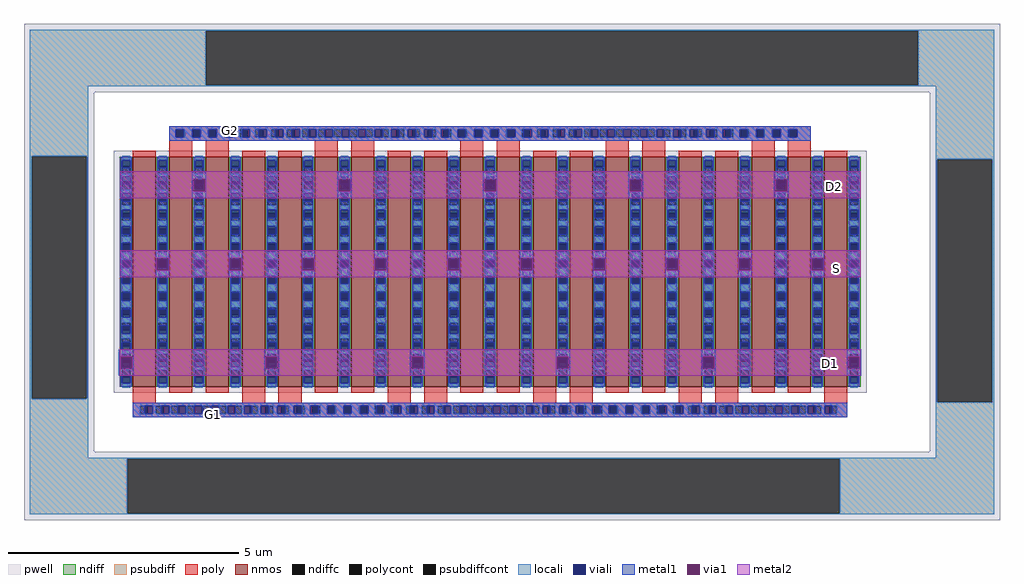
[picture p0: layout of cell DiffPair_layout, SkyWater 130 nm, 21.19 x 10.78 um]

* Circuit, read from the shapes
.subckt DiffPair_layout G1 G2 D2 S D1
XM1 S G1 D1 VSUBS sky130_fd_pr__nfet_01v8 w=5 l=0.5 m=10
XM2 D2 G2 S VSUBS sky130_fd_pr__nfet_01v8 w=5 l=0.5 m=10
.ends

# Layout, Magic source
magic
tech sky130A
magscale 1 2
<< pwell >>
rect -415 1306 3823 1603
rect -415 -256 -109 1306
rect 3517 -256 3823 1306
rect -415 -553 3823 -256
<< psubdiff >>
rect -389 1573 3797 1577
rect -389 1335 375 1573
rect 3469 1335 3797 1573
rect -389 1332 3797 1335
rect -389 1028 -135 1332
rect -389 -26 -381 1028
rect -143 -26 -135 1028
rect 3543 1014 3797 1332
rect -389 -282 -135 -26
rect 3543 -40 3551 1014
rect 3789 -40 3797 1014
rect 3543 -282 3797 -40
rect -389 -286 3797 -282
rect -389 -524 33 -286
rect 3127 -524 3797 -286
rect -389 -527 3797 -524
<< psubdiffcont >>
rect 375 1335 3469 1573
rect -381 -26 -143 1028
rect 3551 -40 3789 1014
rect 33 -524 3127 -286
<< poly >>
rect 216 1144 3002 1158
rect 216 1110 250 1144
rect 284 1110 318 1144
rect 352 1110 386 1144
rect 420 1110 454 1144
rect 488 1110 522 1144
rect 556 1110 590 1144
rect 624 1110 658 1144
rect 692 1110 726 1144
rect 760 1110 794 1144
rect 828 1110 862 1144
rect 896 1110 930 1144
rect 964 1110 998 1144
rect 1032 1110 1066 1144
rect 1100 1110 1134 1144
rect 1168 1110 1202 1144
rect 1236 1110 1270 1144
rect 1304 1110 1338 1144
rect 1372 1110 1406 1144
rect 1440 1110 1474 1144
rect 1508 1110 1542 1144
rect 1576 1110 1610 1144
rect 1644 1110 1678 1144
rect 1712 1110 1746 1144
rect 1780 1110 1814 1144
rect 1848 1110 1882 1144
rect 1916 1110 1950 1144
rect 1984 1110 2018 1144
rect 2052 1110 2086 1144
rect 2120 1110 2154 1144
rect 2188 1110 2222 1144
rect 2256 1110 2290 1144
rect 2324 1110 2358 1144
rect 2392 1110 2426 1144
rect 2460 1110 2494 1144
rect 2528 1110 2562 1144
rect 2596 1110 2630 1144
rect 2664 1110 2698 1144
rect 2732 1110 2766 1144
rect 2800 1110 2834 1144
rect 2868 1110 2902 1144
rect 2936 1110 3002 1144
rect 216 1094 3002 1110
rect 216 1052 316 1094
rect 374 1052 474 1094
rect 848 1052 948 1094
rect 1006 1052 1106 1094
rect 1480 1052 1580 1094
rect 1638 1052 1738 1094
rect 2112 1052 2212 1094
rect 2270 1052 2370 1094
rect 2744 1052 2844 1094
rect 2902 1052 3002 1094
rect 58 -42 158 0
rect 532 -42 632 0
rect 690 -42 790 0
rect 1164 -42 1264 0
rect 1322 -42 1422 0
rect 1796 -42 1896 0
rect 1954 -42 2054 0
rect 2428 -42 2528 0
rect 2586 -42 2686 0
rect 3060 -42 3160 0
rect 58 -56 3160 -42
rect 58 -90 89 -56
rect 123 -90 157 -56
rect 191 -90 225 -56
rect 259 -90 293 -56
rect 327 -90 361 -56
rect 395 -90 429 -56
rect 463 -90 497 -56
rect 531 -90 565 -56
rect 599 -90 633 -56
rect 667 -90 701 -56
rect 735 -90 769 -56
rect 803 -90 837 -56
rect 871 -90 905 -56
rect 939 -90 973 -56
rect 1007 -90 1041 -56
rect 1075 -90 1109 -56
rect 1143 -90 1177 -56
rect 1211 -90 1245 -56
rect 1279 -90 1313 -56
rect 1347 -90 1381 -56
rect 1415 -90 1449 -56
rect 1483 -90 1517 -56
rect 1551 -90 1585 -56
rect 1619 -90 1653 -56
rect 1687 -90 1721 -56
rect 1755 -90 1789 -56
rect 1823 -90 1857 -56
rect 1891 -90 1925 -56
rect 1959 -90 1993 -56
rect 2027 -90 2061 -56
rect 2095 -90 2129 -56
rect 2163 -90 2197 -56
rect 2231 -90 2265 -56
rect 2299 -90 2333 -56
rect 2367 -90 2401 -56
rect 2435 -90 2469 -56
rect 2503 -90 2537 -56
rect 2571 -90 2605 -56
rect 2639 -90 2673 -56
rect 2707 -90 2741 -56
rect 2775 -90 2809 -56
rect 2843 -90 2877 -56
rect 2911 -90 2945 -56
rect 2979 -90 3013 -56
rect 3047 -90 3081 -56
rect 3115 -90 3160 -56
rect 58 -106 3160 -90
<< polycont >>
rect 250 1110 284 1144
rect 318 1110 352 1144
rect 386 1110 420 1144
rect 454 1110 488 1144
rect 522 1110 556 1144
rect 590 1110 624 1144
rect 658 1110 692 1144
rect 726 1110 760 1144
rect 794 1110 828 1144
rect 862 1110 896 1144
rect 930 1110 964 1144
rect 998 1110 1032 1144
rect 1066 1110 1100 1144
rect 1134 1110 1168 1144
rect 1202 1110 1236 1144
rect 1270 1110 1304 1144
rect 1338 1110 1372 1144
rect 1406 1110 1440 1144
rect 1474 1110 1508 1144
rect 1542 1110 1576 1144
rect 1610 1110 1644 1144
rect 1678 1110 1712 1144
rect 1746 1110 1780 1144
rect 1814 1110 1848 1144
rect 1882 1110 1916 1144
rect 1950 1110 1984 1144
rect 2018 1110 2052 1144
rect 2086 1110 2120 1144
rect 2154 1110 2188 1144
rect 2222 1110 2256 1144
rect 2290 1110 2324 1144
rect 2358 1110 2392 1144
rect 2426 1110 2460 1144
rect 2494 1110 2528 1144
rect 2562 1110 2596 1144
rect 2630 1110 2664 1144
rect 2698 1110 2732 1144
rect 2766 1110 2800 1144
rect 2834 1110 2868 1144
rect 2902 1110 2936 1144
rect 89 -90 123 -56
rect 157 -90 191 -56
rect 225 -90 259 -56
rect 293 -90 327 -56
rect 361 -90 395 -56
rect 429 -90 463 -56
rect 497 -90 531 -56
rect 565 -90 599 -56
rect 633 -90 667 -56
rect 701 -90 735 -56
rect 769 -90 803 -56
rect 837 -90 871 -56
rect 905 -90 939 -56
rect 973 -90 1007 -56
rect 1041 -90 1075 -56
rect 1109 -90 1143 -56
rect 1177 -90 1211 -56
rect 1245 -90 1279 -56
rect 1313 -90 1347 -56
rect 1381 -90 1415 -56
rect 1449 -90 1483 -56
rect 1517 -90 1551 -56
rect 1585 -90 1619 -56
rect 1653 -90 1687 -56
rect 1721 -90 1755 -56
rect 1789 -90 1823 -56
rect 1857 -90 1891 -56
rect 1925 -90 1959 -56
rect 1993 -90 2027 -56
rect 2061 -90 2095 -56
rect 2129 -90 2163 -56
rect 2197 -90 2231 -56
rect 2265 -90 2299 -56
rect 2333 -90 2367 -56
rect 2401 -90 2435 -56
rect 2469 -90 2503 -56
rect 2537 -90 2571 -56
rect 2605 -90 2639 -56
rect 2673 -90 2707 -56
rect 2741 -90 2775 -56
rect 2809 -90 2843 -56
rect 2877 -90 2911 -56
rect 2945 -90 2979 -56
rect 3013 -90 3047 -56
rect 3081 -90 3115 -56
<< locali >>
rect -389 1573 3797 1577
rect -389 1335 375 1573
rect 3469 1335 3797 1573
rect -389 1332 3797 1335
rect -389 1028 -135 1332
rect 216 1144 3002 1158
rect 216 1110 244 1144
rect 284 1110 316 1144
rect 352 1110 386 1144
rect 422 1110 454 1144
rect 494 1110 522 1144
rect 566 1110 590 1144
rect 638 1110 658 1144
rect 710 1110 726 1144
rect 782 1110 794 1144
rect 854 1110 862 1144
rect 926 1110 930 1144
rect 1032 1110 1036 1144
rect 1100 1110 1108 1144
rect 1168 1110 1180 1144
rect 1236 1110 1252 1144
rect 1304 1110 1324 1144
rect 1372 1110 1396 1144
rect 1440 1110 1468 1144
rect 1508 1110 1540 1144
rect 1576 1110 1610 1144
rect 1646 1110 1678 1144
rect 1718 1110 1746 1144
rect 1790 1110 1814 1144
rect 1862 1110 1882 1144
rect 1934 1110 1950 1144
rect 2006 1110 2018 1144
rect 2078 1110 2086 1144
rect 2150 1110 2154 1144
rect 2256 1110 2260 1144
rect 2324 1110 2332 1144
rect 2392 1110 2404 1144
rect 2460 1110 2476 1144
rect 2528 1110 2548 1144
rect 2596 1110 2620 1144
rect 2664 1110 2692 1144
rect 2732 1110 2764 1144
rect 2800 1110 2834 1144
rect 2870 1110 2902 1144
rect 2942 1110 3002 1144
rect 216 1094 3002 1110
rect -389 -26 -381 1028
rect -143 -26 -135 1028
rect -389 -282 -135 -26
rect 3543 1014 3797 1332
rect 3543 -40 3551 1014
rect 3789 -40 3797 1014
rect 58 -56 3160 -42
rect 58 -90 89 -56
rect 143 -90 157 -56
rect 215 -90 225 -56
rect 287 -90 293 -56
rect 359 -90 361 -56
rect 395 -90 397 -56
rect 463 -90 469 -56
rect 531 -90 541 -56
rect 599 -90 613 -56
rect 667 -90 685 -56
rect 735 -90 757 -56
rect 803 -90 829 -56
rect 871 -90 901 -56
rect 939 -90 973 -56
rect 1007 -90 1041 -56
rect 1079 -90 1109 -56
rect 1151 -90 1177 -56
rect 1223 -90 1245 -56
rect 1295 -90 1313 -56
rect 1367 -90 1381 -56
rect 1439 -90 1449 -56
rect 1511 -90 1517 -56
rect 1583 -90 1585 -56
rect 1619 -90 1621 -56
rect 1687 -90 1693 -56
rect 1755 -90 1765 -56
rect 1823 -90 1837 -56
rect 1891 -90 1909 -56
rect 1959 -90 1981 -56
rect 2027 -90 2053 -56
rect 2095 -90 2125 -56
rect 2163 -90 2197 -56
rect 2231 -90 2265 -56
rect 2303 -90 2333 -56
rect 2375 -90 2401 -56
rect 2447 -90 2469 -56
rect 2519 -90 2537 -56
rect 2591 -90 2605 -56
rect 2663 -90 2673 -56
rect 2735 -90 2741 -56
rect 2807 -90 2809 -56
rect 2843 -90 2845 -56
rect 2911 -90 2917 -56
rect 2979 -90 2989 -56
rect 3047 -90 3061 -56
rect 3115 -90 3160 -56
rect 58 -106 3160 -90
rect 3543 -282 3797 -40
rect -389 -286 3797 -282
rect -389 -524 33 -286
rect 3127 -524 3797 -286
rect -389 -527 3797 -524
<< viali >>
rect 244 1110 250 1144
rect 250 1110 278 1144
rect 316 1110 318 1144
rect 318 1110 350 1144
rect 388 1110 420 1144
rect 420 1110 422 1144
rect 460 1110 488 1144
rect 488 1110 494 1144
rect 532 1110 556 1144
rect 556 1110 566 1144
rect 604 1110 624 1144
rect 624 1110 638 1144
rect 676 1110 692 1144
rect 692 1110 710 1144
rect 748 1110 760 1144
rect 760 1110 782 1144
rect 820 1110 828 1144
rect 828 1110 854 1144
rect 892 1110 896 1144
rect 896 1110 926 1144
rect 964 1110 998 1144
rect 1036 1110 1066 1144
rect 1066 1110 1070 1144
rect 1108 1110 1134 1144
rect 1134 1110 1142 1144
rect 1180 1110 1202 1144
rect 1202 1110 1214 1144
rect 1252 1110 1270 1144
rect 1270 1110 1286 1144
rect 1324 1110 1338 1144
rect 1338 1110 1358 1144
rect 1396 1110 1406 1144
rect 1406 1110 1430 1144
rect 1468 1110 1474 1144
rect 1474 1110 1502 1144
rect 1540 1110 1542 1144
rect 1542 1110 1574 1144
rect 1612 1110 1644 1144
rect 1644 1110 1646 1144
rect 1684 1110 1712 1144
rect 1712 1110 1718 1144
rect 1756 1110 1780 1144
rect 1780 1110 1790 1144
rect 1828 1110 1848 1144
rect 1848 1110 1862 1144
rect 1900 1110 1916 1144
rect 1916 1110 1934 1144
rect 1972 1110 1984 1144
rect 1984 1110 2006 1144
rect 2044 1110 2052 1144
rect 2052 1110 2078 1144
rect 2116 1110 2120 1144
rect 2120 1110 2150 1144
rect 2188 1110 2222 1144
rect 2260 1110 2290 1144
rect 2290 1110 2294 1144
rect 2332 1110 2358 1144
rect 2358 1110 2366 1144
rect 2404 1110 2426 1144
rect 2426 1110 2438 1144
rect 2476 1110 2494 1144
rect 2494 1110 2510 1144
rect 2548 1110 2562 1144
rect 2562 1110 2582 1144
rect 2620 1110 2630 1144
rect 2630 1110 2654 1144
rect 2692 1110 2698 1144
rect 2698 1110 2726 1144
rect 2764 1110 2766 1144
rect 2766 1110 2798 1144
rect 2836 1110 2868 1144
rect 2868 1110 2870 1144
rect 2908 1110 2936 1144
rect 2936 1110 2942 1144
rect 109 -90 123 -56
rect 123 -90 143 -56
rect 181 -90 191 -56
rect 191 -90 215 -56
rect 253 -90 259 -56
rect 259 -90 287 -56
rect 325 -90 327 -56
rect 327 -90 359 -56
rect 397 -90 429 -56
rect 429 -90 431 -56
rect 469 -90 497 -56
rect 497 -90 503 -56
rect 541 -90 565 -56
rect 565 -90 575 -56
rect 613 -90 633 -56
rect 633 -90 647 -56
rect 685 -90 701 -56
rect 701 -90 719 -56
rect 757 -90 769 -56
rect 769 -90 791 -56
rect 829 -90 837 -56
rect 837 -90 863 -56
rect 901 -90 905 -56
rect 905 -90 935 -56
rect 973 -90 1007 -56
rect 1045 -90 1075 -56
rect 1075 -90 1079 -56
rect 1117 -90 1143 -56
rect 1143 -90 1151 -56
rect 1189 -90 1211 -56
rect 1211 -90 1223 -56
rect 1261 -90 1279 -56
rect 1279 -90 1295 -56
rect 1333 -90 1347 -56
rect 1347 -90 1367 -56
rect 1405 -90 1415 -56
rect 1415 -90 1439 -56
rect 1477 -90 1483 -56
rect 1483 -90 1511 -56
rect 1549 -90 1551 -56
rect 1551 -90 1583 -56
rect 1621 -90 1653 -56
rect 1653 -90 1655 -56
rect 1693 -90 1721 -56
rect 1721 -90 1727 -56
rect 1765 -90 1789 -56
rect 1789 -90 1799 -56
rect 1837 -90 1857 -56
rect 1857 -90 1871 -56
rect 1909 -90 1925 -56
rect 1925 -90 1943 -56
rect 1981 -90 1993 -56
rect 1993 -90 2015 -56
rect 2053 -90 2061 -56
rect 2061 -90 2087 -56
rect 2125 -90 2129 -56
rect 2129 -90 2159 -56
rect 2197 -90 2231 -56
rect 2269 -90 2299 -56
rect 2299 -90 2303 -56
rect 2341 -90 2367 -56
rect 2367 -90 2375 -56
rect 2413 -90 2435 -56
rect 2435 -90 2447 -56
rect 2485 -90 2503 -56
rect 2503 -90 2519 -56
rect 2557 -90 2571 -56
rect 2571 -90 2591 -56
rect 2629 -90 2639 -56
rect 2639 -90 2663 -56
rect 2701 -90 2707 -56
rect 2707 -90 2735 -56
rect 2773 -90 2775 -56
rect 2775 -90 2807 -56
rect 2845 -90 2877 -56
rect 2877 -90 2879 -56
rect 2917 -90 2945 -56
rect 2945 -90 2951 -56
rect 2989 -90 3013 -56
rect 3013 -90 3023 -56
rect 3061 -90 3081 -56
rect 3081 -90 3095 -56
<< metal1 >>
rect 216 1144 3002 1158
rect 216 1110 244 1144
rect 278 1110 316 1144
rect 350 1110 388 1144
rect 422 1110 460 1144
rect 494 1110 532 1144
rect 566 1110 604 1144
rect 638 1110 676 1144
rect 710 1110 748 1144
rect 782 1110 820 1144
rect 854 1110 892 1144
rect 926 1110 964 1144
rect 998 1110 1036 1144
rect 1070 1110 1108 1144
rect 1142 1110 1180 1144
rect 1214 1110 1252 1144
rect 1286 1110 1324 1144
rect 1358 1110 1396 1144
rect 1430 1110 1468 1144
rect 1502 1110 1540 1144
rect 1574 1110 1612 1144
rect 1646 1110 1684 1144
rect 1718 1110 1756 1144
rect 1790 1110 1828 1144
rect 1862 1110 1900 1144
rect 1934 1110 1972 1144
rect 2006 1110 2044 1144
rect 2078 1110 2116 1144
rect 2150 1110 2188 1144
rect 2222 1110 2260 1144
rect 2294 1110 2332 1144
rect 2366 1110 2404 1144
rect 2438 1110 2476 1144
rect 2510 1110 2548 1144
rect 2582 1110 2620 1144
rect 2654 1110 2692 1144
rect 2726 1110 2764 1144
rect 2798 1110 2836 1144
rect 2870 1110 2908 1144
rect 2942 1110 3002 1144
rect 216 1094 3002 1110
rect 313 928 377 959
rect 313 876 319 928
rect 371 876 377 928
rect 313 846 377 876
rect 945 928 1009 959
rect 945 876 951 928
rect 1003 876 1009 928
rect 945 846 1009 876
rect 1577 928 1641 959
rect 1577 876 1583 928
rect 1635 876 1641 928
rect 1577 846 1641 876
rect 2209 928 2273 959
rect 2209 876 2215 928
rect 2267 876 2273 928
rect 2209 846 2273 876
rect 2841 928 2905 959
rect 2841 876 2847 928
rect 2899 876 2905 928
rect 2841 846 2905 876
rect 158 585 216 619
rect 158 533 161 585
rect 213 533 216 585
rect 158 503 216 533
rect 474 585 532 619
rect 474 533 477 585
rect 529 533 532 585
rect 474 503 532 533
rect 790 585 848 619
rect 790 533 793 585
rect 845 533 848 585
rect 790 503 848 533
rect 1106 585 1164 619
rect 1106 533 1109 585
rect 1161 533 1164 585
rect 1106 503 1164 533
rect 1422 585 1480 619
rect 1422 533 1425 585
rect 1477 533 1480 585
rect 1422 503 1480 533
rect 1738 585 1796 619
rect 1738 533 1741 585
rect 1793 533 1796 585
rect 1738 503 1796 533
rect 2054 585 2112 619
rect 2054 533 2057 585
rect 2109 533 2112 585
rect 2054 503 2112 533
rect 2370 585 2428 619
rect 2370 533 2373 585
rect 2425 533 2428 585
rect 2370 503 2428 533
rect 2686 585 2744 619
rect 2686 533 2689 585
rect 2741 533 2744 585
rect 2686 503 2744 533
rect 3002 585 3060 619
rect 3002 533 3005 585
rect 3057 533 3060 585
rect 3002 503 3060 533
rect -3 156 61 188
rect -3 104 3 156
rect 55 104 61 156
rect -3 74 61 104
rect 629 156 693 188
rect 629 104 635 156
rect 687 104 693 156
rect 629 74 693 104
rect 1261 156 1325 188
rect 1261 104 1267 156
rect 1319 104 1325 156
rect 1261 74 1325 104
rect 1893 156 1957 188
rect 1893 104 1899 156
rect 1951 104 1957 156
rect 1893 74 1957 104
rect 2525 156 2589 188
rect 2525 104 2531 156
rect 2583 104 2589 156
rect 2525 74 2589 104
rect 3157 156 3221 188
rect 3157 104 3163 156
rect 3215 104 3221 156
rect 3157 74 3221 104
rect 58 -56 3160 -42
rect 58 -90 109 -56
rect 143 -90 181 -56
rect 215 -90 253 -56
rect 287 -90 325 -56
rect 359 -90 397 -56
rect 431 -90 469 -56
rect 503 -90 541 -56
rect 575 -90 613 -56
rect 647 -90 685 -56
rect 719 -90 757 -56
rect 791 -90 829 -56
rect 863 -90 901 -56
rect 935 -90 973 -56
rect 1007 -90 1045 -56
rect 1079 -90 1117 -56
rect 1151 -90 1189 -56
rect 1223 -90 1261 -56
rect 1295 -90 1333 -56
rect 1367 -90 1405 -56
rect 1439 -90 1477 -56
rect 1511 -90 1549 -56
rect 1583 -90 1621 -56
rect 1655 -90 1693 -56
rect 1727 -90 1765 -56
rect 1799 -90 1837 -56
rect 1871 -90 1909 -56
rect 1943 -90 1981 -56
rect 2015 -90 2053 -56
rect 2087 -90 2125 -56
rect 2159 -90 2197 -56
rect 2231 -90 2269 -56
rect 2303 -90 2341 -56
rect 2375 -90 2413 -56
rect 2447 -90 2485 -56
rect 2519 -90 2557 -56
rect 2591 -90 2629 -56
rect 2663 -90 2701 -56
rect 2735 -90 2773 -56
rect 2807 -90 2845 -56
rect 2879 -90 2917 -56
rect 2951 -90 2989 -56
rect 3023 -90 3061 -56
rect 3095 -90 3160 -56
rect 58 -106 3160 -90
<< via1 >>
rect 319 876 371 928
rect 951 876 1003 928
rect 1583 876 1635 928
rect 2215 876 2267 928
rect 2847 876 2899 928
rect 161 533 213 585
rect 477 533 529 585
rect 793 533 845 585
rect 1109 533 1161 585
rect 1425 533 1477 585
rect 1741 533 1793 585
rect 2057 533 2109 585
rect 2373 533 2425 585
rect 2689 533 2741 585
rect 3005 533 3057 585
rect 3 104 55 156
rect 635 104 687 156
rect 1267 104 1319 156
rect 1899 104 1951 156
rect 2531 104 2583 156
rect 3163 104 3215 156
<< metal2 >>
rect 0 928 3218 962
rect 0 876 319 928
rect 371 876 951 928
rect 1003 876 1583 928
rect 1635 876 2215 928
rect 2267 876 2847 928
rect 2899 876 3218 928
rect 0 846 3218 876
rect 0 585 3218 619
rect 0 533 161 585
rect 213 533 477 585
rect 529 533 793 585
rect 845 533 1109 585
rect 1161 533 1425 585
rect 1477 533 1741 585
rect 1793 533 2057 585
rect 2109 533 2373 585
rect 2425 533 2689 585
rect 2741 533 3005 585
rect 3057 533 3218 585
rect 0 503 3218 533
rect 0 156 3218 190
rect 0 104 3 156
rect 55 104 635 156
rect 687 104 1267 156
rect 1319 104 1899 156
rect 1951 104 2531 156
rect 2583 104 3163 156
rect 3215 104 3218 156
rect 0 74 3218 104
use sky130_fd_pr__nfet_01v8_6YBK2C  sky130_fd_pr__nfet_01v8_6YBK2C_19
transform 1 0 108 0 1 526
box -134 -526 134 526
use sky130_fd_pr__nfet_01v8_6YBK2C  sky130_fd_pr__nfet_01v8_6YBK2C_18
transform 1 0 266 0 1 526
box -134 -526 134 526
use sky130_fd_pr__nfet_01v8_6YBK2C  sky130_fd_pr__nfet_01v8_6YBK2C_17
transform 1 0 424 0 1 526
box -134 -526 134 526
use sky130_fd_pr__nfet_01v8_6YBK2C  sky130_fd_pr__nfet_01v8_6YBK2C_16
transform 1 0 582 0 1 526
box -134 -526 134 526
use sky130_fd_pr__nfet_01v8_6YBK2C  sky130_fd_pr__nfet_01v8_6YBK2C_15
transform 1 0 740 0 1 526
box -134 -526 134 526
use sky130_fd_pr__nfet_01v8_6YBK2C  sky130_fd_pr__nfet_01v8_6YBK2C_14
transform 1 0 898 0 1 526
box -134 -526 134 526
use sky130_fd_pr__nfet_01v8_6YBK2C  sky130_fd_pr__nfet_01v8_6YBK2C_13
transform 1 0 1056 0 1 526
box -134 -526 134 526
use sky130_fd_pr__nfet_01v8_6YBK2C  sky130_fd_pr__nfet_01v8_6YBK2C_12
transform 1 0 1214 0 1 526
box -134 -526 134 526
use sky130_fd_pr__nfet_01v8_6YBK2C  sky130_fd_pr__nfet_01v8_6YBK2C_11
transform 1 0 1372 0 1 526
box -134 -526 134 526
use sky130_fd_pr__nfet_01v8_6YBK2C  sky130_fd_pr__nfet_01v8_6YBK2C_10
transform 1 0 1530 0 1 526
box -134 -526 134 526
use sky130_fd_pr__nfet_01v8_6YBK2C  sky130_fd_pr__nfet_01v8_6YBK2C_9
transform 1 0 1688 0 1 526
box -134 -526 134 526
use sky130_fd_pr__nfet_01v8_6YBK2C  sky130_fd_pr__nfet_01v8_6YBK2C_7
transform 1 0 1846 0 1 526
box -134 -526 134 526
use sky130_fd_pr__nfet_01v8_6YBK2C  sky130_fd_pr__nfet_01v8_6YBK2C_8
transform 1 0 2004 0 1 526
box -134 -526 134 526
use sky130_fd_pr__nfet_01v8_6YBK2C  sky130_fd_pr__nfet_01v8_6YBK2C_6
transform 1 0 2162 0 1 526
box -134 -526 134 526
use sky130_fd_pr__nfet_01v8_6YBK2C  sky130_fd_pr__nfet_01v8_6YBK2C_5
transform 1 0 2320 0 1 526
box -134 -526 134 526
use sky130_fd_pr__nfet_01v8_6YBK2C  sky130_fd_pr__nfet_01v8_6YBK2C_4
transform 1 0 2478 0 1 526
box -134 -526 134 526
use sky130_fd_pr__nfet_01v8_6YBK2C  sky130_fd_pr__nfet_01v8_6YBK2C_3
transform 1 0 2636 0 1 526
box -134 -526 134 526
use sky130_fd_pr__nfet_01v8_6YBK2C  sky130_fd_pr__nfet_01v8_6YBK2C_2
transform 1 0 2794 0 1 526
box -134 -526 134 526
use sky130_fd_pr__nfet_01v8_6YBK2C  sky130_fd_pr__nfet_01v8_6YBK2C_1
transform 1 0 2952 0 1 526
box -134 -526 134 526
use sky130_fd_pr__nfet_01v8_6YBK2C  sky130_fd_pr__nfet_01v8_6YBK2C_0
transform 1 0 3110 0 1 526
box -134 -526 134 526
<< labels >>
flabel metal1 s 408 -95 408 -95 0 FreeSans 800 0 0 0 G1
port 1 nsew
flabel metal1 s 482 1139 482 1139 0 FreeSans 800 0 0 0 G2
port 2 nsew
flabel metal2 s 3106 898 3106 898 0 FreeSans 800 0 0 0 D2
port 3 nsew
flabel metal2 s 3111 542 3111 542 0 FreeSans 800 0 0 0 S
port 4 nsew
flabel metal2 s 3085 128 3085 128 0 FreeSans 800 0 0 0 D1
port 5 nsew
<< end >>

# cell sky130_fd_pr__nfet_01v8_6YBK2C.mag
magic
tech sky130A
magscale 1 2
<< pwell >>
rect -134 -526 134 526
<< nmos >>
rect -50 -500 50 500
<< ndiff >>
rect -108 459 -50 500
rect -108 425 -96 459
rect -62 425 -50 459
rect -108 391 -50 425
rect -108 357 -96 391
rect -62 357 -50 391
rect -108 323 -50 357
rect -108 289 -96 323
rect -62 289 -50 323
rect -108 255 -50 289
rect -108 221 -96 255
rect -62 221 -50 255
rect -108 187 -50 221
rect -108 153 -96 187
rect -62 153 -50 187
rect -108 119 -50 153
rect -108 85 -96 119
rect -62 85 -50 119
rect -108 51 -50 85
rect -108 17 -96 51
rect -62 17 -50 51
rect -108 -17 -50 17
rect -108 -51 -96 -17
rect -62 -51 -50 -17
rect -108 -85 -50 -51
rect -108 -119 -96 -85
rect -62 -119 -50 -85
rect -108 -153 -50 -119
rect -108 -187 -96 -153
rect -62 -187 -50 -153
rect -108 -221 -50 -187
rect -108 -255 -96 -221
rect -62 -255 -50 -221
rect -108 -289 -50 -255
rect -108 -323 -96 -289
rect -62 -323 -50 -289
rect -108 -357 -50 -323
rect -108 -391 -96 -357
rect -62 -391 -50 -357
rect -108 -425 -50 -391
rect -108 -459 -96 -425
rect -62 -459 -50 -425
rect -108 -500 -50 -459
rect 50 459 108 500
rect 50 425 62 459
rect 96 425 108 459
rect 50 391 108 425
rect 50 357 62 391
rect 96 357 108 391
rect 50 323 108 357
rect 50 289 62 323
rect 96 289 108 323
rect 50 255 108 289
rect 50 221 62 255
rect 96 221 108 255
rect 50 187 108 221
rect 50 153 62 187
rect 96 153 108 187
rect 50 119 108 153
rect 50 85 62 119
rect 96 85 108 119
rect 50 51 108 85
rect 50 17 62 51
rect 96 17 108 51
rect 50 -17 108 17
rect 50 -51 62 -17
rect 96 -51 108 -17
rect 50 -85 108 -51
rect 50 -119 62 -85
rect 96 -119 108 -85
rect 50 -153 108 -119
rect 50 -187 62 -153
rect 96 -187 108 -153
rect 50 -221 108 -187
rect 50 -255 62 -221
rect 96 -255 108 -221
rect 50 -289 108 -255
rect 50 -323 62 -289
rect 96 -323 108 -289
rect 50 -357 108 -323
rect 50 -391 62 -357
rect 96 -391 108 -357
rect 50 -425 108 -391
rect 50 -459 62 -425
rect 96 -459 108 -425
rect 50 -500 108 -459
<< ndiffc >>
rect -96 425 -62 459
rect -96 357 -62 391
rect -96 289 -62 323
rect -96 221 -62 255
rect -96 153 -62 187
rect -96 85 -62 119
rect -96 17 -62 51
rect -96 -51 -62 -17
rect -96 -119 -62 -85
rect -96 -187 -62 -153
rect -96 -255 -62 -221
rect -96 -323 -62 -289
rect -96 -391 -62 -357
rect -96 -459 -62 -425
rect 62 425 96 459
rect 62 357 96 391
rect 62 289 96 323
rect 62 221 96 255
rect 62 153 96 187
rect 62 85 96 119
rect 62 17 96 51
rect 62 -51 96 -17
rect 62 -119 96 -85
rect 62 -187 96 -153
rect 62 -255 96 -221
rect 62 -323 96 -289
rect 62 -391 96 -357
rect 62 -459 96 -425
<< poly >>
rect -50 500 50 526
rect -50 -526 50 -500
<< locali >>
rect -96 485 -62 504
rect -96 413 -62 425
rect -96 341 -62 357
rect -96 269 -62 289
rect -96 197 -62 221
rect -96 125 -62 153
rect -96 53 -62 85
rect -96 -17 -62 17
rect -96 -85 -62 -53
rect -96 -153 -62 -125
rect -96 -221 -62 -197
rect -96 -289 -62 -269
rect -96 -357 -62 -341
rect -96 -425 -62 -413
rect -96 -504 -62 -485
rect 62 485 96 504
rect 62 413 96 425
rect 62 341 96 357
rect 62 269 96 289
rect 62 197 96 221
rect 62 125 96 153
rect 62 53 96 85
rect 62 -17 96 17
rect 62 -85 96 -53
rect 62 -153 96 -125
rect 62 -221 96 -197
rect 62 -289 96 -269
rect 62 -357 96 -341
rect 62 -425 96 -413
rect 62 -504 96 -485
<< viali >>
rect -96 459 -62 485
rect -96 451 -62 459
rect -96 391 -62 413
rect -96 379 -62 391
rect -96 323 -62 341
rect -96 307 -62 323
rect -96 255 -62 269
rect -96 235 -62 255
rect -96 187 -62 197
rect -96 163 -62 187
rect -96 119 -62 125
rect -96 91 -62 119
rect -96 51 -62 53
rect -96 19 -62 51
rect -96 -51 -62 -19
rect -96 -53 -62 -51
rect -96 -119 -62 -91
rect -96 -125 -62 -119
rect -96 -187 -62 -163
rect -96 -197 -62 -187
rect -96 -255 -62 -235
rect -96 -269 -62 -255
rect -96 -323 -62 -307
rect -96 -341 -62 -323
rect -96 -391 -62 -379
rect -96 -413 -62 -391
rect -96 -459 -62 -451
rect -96 -485 -62 -459
rect 62 459 96 485
rect 62 451 96 459
rect 62 391 96 413
rect 62 379 96 391
rect 62 323 96 341
rect 62 307 96 323
rect 62 255 96 269
rect 62 235 96 255
rect 62 187 96 197
rect 62 163 96 187
rect 62 119 96 125
rect 62 91 96 119
rect 62 51 96 53
rect 62 19 96 51
rect 62 -51 96 -19
rect 62 -53 96 -51
rect 62 -119 96 -91
rect 62 -125 96 -119
rect 62 -187 96 -163
rect 62 -197 96 -187
rect 62 -255 96 -235
rect 62 -269 96 -255
rect 62 -323 96 -307
rect 62 -341 96 -323
rect 62 -391 96 -379
rect 62 -413 96 -391
rect 62 -459 96 -451
rect 62 -485 96 -459
<< metal1 >>
rect -102 485 -56 500
rect -102 451 -96 485
rect -62 451 -56 485
rect -102 413 -56 451
rect -102 379 -96 413
rect -62 379 -56 413
rect -102 341 -56 379
rect -102 307 -96 341
rect -62 307 -56 341
rect -102 269 -56 307
rect -102 235 -96 269
rect -62 235 -56 269
rect -102 197 -56 235
rect -102 163 -96 197
rect -62 163 -56 197
rect -102 125 -56 163
rect -102 91 -96 125
rect -62 91 -56 125
rect -102 53 -56 91
rect -102 19 -96 53
rect -62 19 -56 53
rect -102 -19 -56 19
rect -102 -53 -96 -19
rect -62 -53 -56 -19
rect -102 -91 -56 -53
rect -102 -125 -96 -91
rect -62 -125 -56 -91
rect -102 -163 -56 -125
rect -102 -197 -96 -163
rect -62 -197 -56 -163
rect -102 -235 -56 -197
rect -102 -269 -96 -235
rect -62 -269 -56 -235
rect -102 -307 -56 -269
rect -102 -341 -96 -307
rect -62 -341 -56 -307
rect -102 -379 -56 -341
rect -102 -413 -96 -379
rect -62 -413 -56 -379
rect -102 -451 -56 -413
rect -102 -485 -96 -451
rect -62 -485 -56 -451
rect -102 -500 -56 -485
rect 56 485 102 500
rect 56 451 62 485
rect 96 451 102 485
rect 56 413 102 451
rect 56 379 62 413
rect 96 379 102 413
rect 56 341 102 379
rect 56 307 62 341
rect 96 307 102 341
rect 56 269 102 307
rect 56 235 62 269
rect 96 235 102 269
rect 56 197 102 235
rect 56 163 62 197
rect 96 163 102 197
rect 56 125 102 163
rect 56 91 62 125
rect 96 91 102 125
rect 56 53 102 91
rect 56 19 62 53
rect 96 19 102 53
rect 56 -19 102 19
rect 56 -53 62 -19
rect 96 -53 102 -19
rect 56 -91 102 -53
rect 56 -125 62 -91
rect 96 -125 102 -91
rect 56 -163 102 -125
rect 56 -197 62 -163
rect 96 -197 102 -163
rect 56 -235 102 -197
rect 56 -269 62 -235
rect 96 -269 102 -235
rect 56 -307 102 -269
rect 56 -341 62 -307
rect 96 -341 102 -307
rect 56 -379 102 -341
rect 56 -413 62 -379
rect 96 -413 102 -379
rect 56 -451 102 -413
rect 56 -485 62 -451
rect 96 -485 102 -451
rect 56 -500 102 -485
<< end >>
